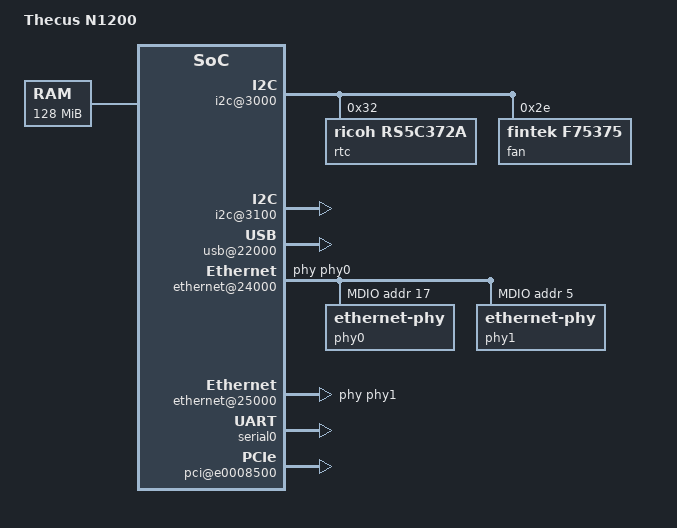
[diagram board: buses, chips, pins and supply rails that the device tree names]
/*
 * Copyright (c) Mark Kettenis <kettenis@openbsd.org>
 *
 * Permission to use, copy, modify, and distribute this software for any
 * purpose with or without fee is hereby granted, provided that the above
 * copyright notice and this permission notice appear in all copies.
 *
 * THE SOFTWARE IS PROVIDED "AS IS" AND THE AUTHOR DISCLAIMS ALL WARRANTIES
 * WITH REGARD TO THIS SOFTWARE INCLUDING ALL IMPLIED WARRANTIES OF
 * MERCHANTABILITY AND FITNESS. IN NO EVENT SHALL THE AUTHOR BE LIABLE FOR
 * ANY SPECIAL, DIRECT, INDIRECT, OR CONSEQUENTIAL DAMAGES OR ANY DAMAGES
 * WHATSOEVER RESULTING FROM LOSS OF USE, DATA OR PROFITS, WHETHER IN AN
 * ACTION OF CONTRACT, NEGLIGENCE OR OTHER TORTIOUS ACTION, ARISING OUT OF
 * OR IN CONNECTION WITH THE USE OR PERFORMANCE OF THIS SOFTWARE.
 */

/dts-v1/;

/ {
	model = "Thecus N1200";
	#address-cells = <1>;
	#size-cells = <1>;

	cpus {
		#address-cells = <1>;
		#size-cells = <0>;

		PowerPC,8347@0 {
			device_type = "cpu";
			reg = <0x0>;
			d-cache-line-size = <32>;
			i-cache-line-size = <32>;
			d-cache-size = <32768>;
			i-cache-size = <32768>;
			timebase-frequency = <66666666>;
			bus-frequency = <0>;	// XXX
			clock-frequency = <266666666>;
		};
	};

	memory {
		device_type = "memory";
		reg = <0x00000000 0x08000000>;	// 128MB at 0
	};

	soc8347@e0000000 {
		#address-cells = <1>;
		#size-cells = <1>;
		device_type = "soc";
		compatible = "simple-bus";
		ranges = <0x0 0xe0000000 0x00100000>;
		reg = <0xe0000000 0x00000200>;
		bus-frequency = <0>;

		wdt@200 {
			device_type = "watchdog";
			compatible = "mpc83xx_wdt";
			reg = <0x200 0x100>;
		};

		i2c@3000 {
			#address-cells = <1>;
			#size-cells = <0>;
			cell-index = <0>;
			compatible = "fsl-i2c";
			reg = <0x3000 0x100>;
			interrupts = <14 0x8>;
			interrupt-parent = <&ipic>;
			dfsrr;

			rtc@32 {
				compatible = "ricoh,rs5c372a";
				reg = <0x32>;
			};

			fan@2e {
				compatible = "fintek,f75375";
				reg = <0x2e>;
			};
		};

		i2c@3100 {
			#address-cells = <1>;
			#size-cells = <0>;
			cell-index = <1>;
			compatible = "fsl-i2c";
			reg = <0x3100 0x100>;
			interrupts = <15 0x8>;
			interrupt-parent = <&ipic>;
			dfsrr;
		};

		usb@22000 {
			compatible = "fsl-usb2-mph";
			reg = <0x22000 0x1000>;
			#address-cells = <1>;
			#size-cells = <0>;
			interrupt-parent = <&ipic>;
			interrupts = <39 0x8>;
			phy_type = "ulpi";
			port0;
			port1;
		};

		ethernet@24000 {
			#address-cells = <1>;
			#size-cells = <1>;
			cell-index = <0>;
			device_type = "network";
			model = "TSEC";
			compatible = "gianfar";
			reg = <0x24000 0x1000>;
			ranges = <0x0 0x24000 0x1000>;
			local-mac-address = [ 00 00 00 00 00 00 ];
			interrupts = <32 0x8 33 0x8 34 0x8>;
			interrupt-parent = <&ipic>;
			phy-handle = <&phy0>;

			mdio@520 {
				#address-cells = <1>;
				#size-cells = <0>;
				compatible = "fsl,gianfar-mdio";
				reg = <0x520 0x20>;

				phy0: ethernet-phy@11 {
					reg = <0x11>;
					device_type = "ethernet-phy";
				};

				phy1: ethernet-phy@5 {
					reg = <0x5>;
					device_type = "ethernet-phy";
				};
			};
		};

		ethernet@25000 {
			#address-cells = <1>;
			#size-cells = <1>;
			cell-index = <1>;
			device_type = "network";
			model = "TSEC";
			compatible = "gianfar";
			reg = <0x25000 0x1000>;
			ranges = <0x0 0x25000 0x1000>;
			local-mac-address = [ 00 00 00 00 00 00 ];
			interrupts = <35 0x8 36 0x8 37 0x8>;
			interrupt-parent = <&ipic>;
			phy-handle = <&phy1>;
		};

		serial0: serial@4500 {
			cell-index = <0>;
			device_type = "serial";
			compatible = "ns16550";
			reg = <0x4500 0x100>;
			clock-frequency = <266666666>;
			interrupts = <9 0x8>;
			interrupt-parent = <&ipic>;
		};

		ipic: pic@700 {
			interrupt-controller;
			#address-cells = <0>;
			#interrupt-cells = <2>;
			reg = <0x700 0x100>;
			device_type = "ipic";
		};
	};

	pci@e0008500 {
		cell-index = <1>;
		interrupt-map-mask = <0xf800 0x0 0x0 0x7>;
		interrupt-map = <0x8000 0x0 0x0 0x1 &ipic 20 0x8>;
		interrupt-parent = <&ipic>;
		interrupts = <66 0x8>;
		bus-range = <0 0>;
		ranges = <0x02000000 0x0 0x80000000 0x80000000 0x0 0x20000000
			  0x01000000 0x0 0x00000000 0xe2000000 0x0 0x00100000>;
		clock-frequency = <66666666>;
		#interrupt-cells = <1>;
		#size-cells = <2>;
		#address-cells = <3>;
		reg = <0xe0008500 0x100
		       0xe0008300 0x8>;
		compatible = "fsl,mpc8349-pci";
		device_type = "pci";
	};

	chosen {
	       linux,stdout-path = &serial0;
	};
};
